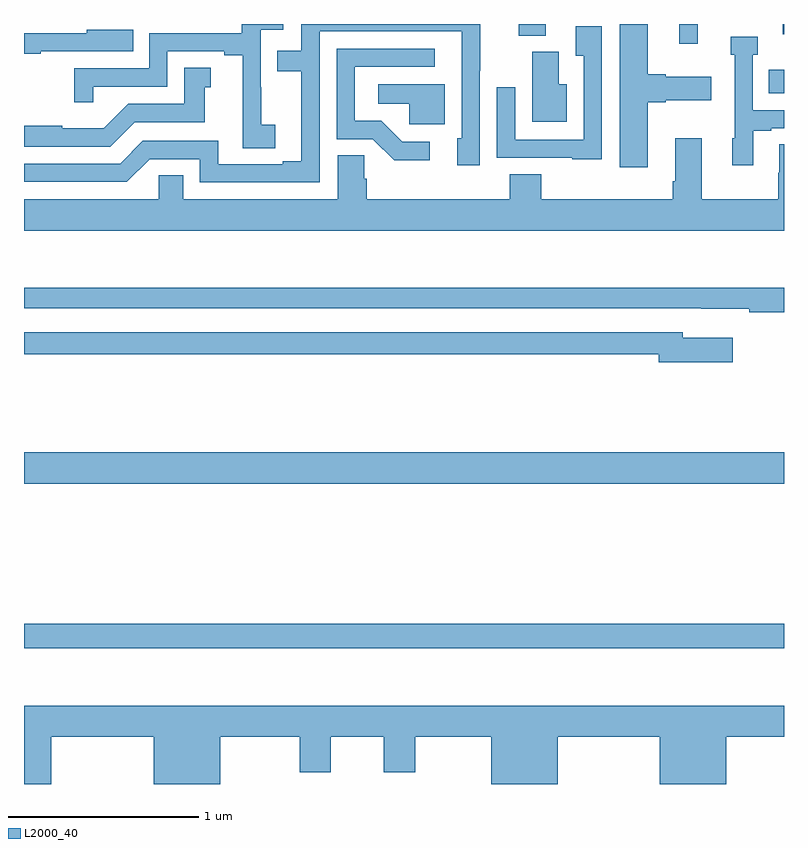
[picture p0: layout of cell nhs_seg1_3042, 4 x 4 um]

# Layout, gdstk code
import gdstk
lib = gdstk.Library(unit=1e-6, precision=1e-09)
def R(c, l, rs):  # rectangles x0, y0, x1, y1
    for r in rs: c.add(gdstk.rectangle(r[:2], r[2:], *l))
def P(c, l, *ps):  # polygons
    for p in ps: c.add(gdstk.Polygon(p, *l))
L2000_40 = (2000, 40)

nhs_seg1_3042 = lib.new_cell('nhs_seg1_3042')
R(nhs_seg1_3042, L2000_40, [(277,502.914,281,503.042), (277,503.78,281,503.944), (280.921,505.835,281,505.957), (280.448,506.094,280.545,506.199), (279.605,506.137,279.745,506.199), (280.994,506.144,281,506.199)])
P(nhs_seg1_3042, L2000_40, [(278.323,505.668),(278.249,505.668),(278.249,505.865),(278.247,505.865),(278.247,506.169),(278.365,506.169),(278.365,506.199),(278.146,506.199),(278.146,506.151),(277.659,506.151),(277.659,505.965),(277.264,505.965),(277.264,505.788),(277.365,505.788),(277.365,505.869),(277.755,505.869),(277.755,506.055),(278.054,506.055),(278.054,506.035),(278.15,506.035),(278.15,505.657),(278.152,505.657),(278.152,505.546),(278.323,505.546)],
  [(280.282,505.787),(280.378,505.787),(280.378,505.799),(280.618,505.799),(280.618,505.921),(280.378,505.921),(280.378,505.934),(280.282,505.934),(280.282,506.199),(280.136,506.199),(280.136,505.446),(280.282,505.446)],
  [(278.556,506.16),(279.303,506.16),(279.303,505.599),(279.281,505.599),(279.281,505.455),(279.399,505.455),(279.399,505.954),(279.401,505.954),(279.401,506.199),(278.46,506.199),(278.46,506.058),(278.332,506.058),(278.332,505.95),(278.459,505.95),(278.459,505.476),(278.363,505.476),(278.363,505.461),(278.022,505.461),(278.022,505.584),(277.626,505.584),(277.506,505.464),(277,505.464),(277,505.368),(277.542,505.368),(277.662,505.488),(277.926,505.488),(277.926,505.365),(278.556,505.365)],
  [(280.041,506.188),(279.905,506.188),(279.905,506.032),(279.945,506.032),(279.945,505.59),(279.585,505.59),(279.585,505.867),(279.489,505.867),(279.489,505.494),(279.885,505.494),(279.885,505.487),(280.041,505.487)],
  [(277.087,506.055),(277.574,506.055),(277.574,506.17),(277.331,506.17),(277.331,506.151),(277,506.151),(277,506.043),(277.087,506.043)],
  [(280.837,505.638),(280.933,505.638),(280.933,505.65),(281,505.65),(281,505.746),(280.836,505.746),(280.836,506.037),(280.861,506.037),(280.861,506.131),(280.721,506.131),(280.721,506.037),(280.74,506.037),(280.74,505.599),(280.727,505.599),(280.727,505.455),(280.837,505.455)],
  [(279.136,505.578),(278.991,505.578),(278.88,505.689),(278.742,505.689),(278.742,505.974),(279.163,505.974),(279.163,506.07),(278.646,506.07),(278.646,505.593),(278.835,505.593),(278.948,505.481),(279.136,505.481)],
  [(279.856,505.882),(279.814,505.882),(279.814,506.052),(279.674,506.052),(279.674,505.685),(279.856,505.685)],
  [(277.584,505.683),(277.951,505.683),(277.951,505.867),(277.984,505.867),(277.984,505.97),(277.844,505.97),(277.844,505.779),(277.548,505.779),(277.42,505.651),(277.202,505.651),(277.202,505.663),(277,505.663),(277,505.554),(277.455,505.554)],
  [(279.214,505.882),(278.865,505.882),(278.865,505.778),(279.027,505.778),(279.027,505.671),(279.214,505.671)],
  [(281,505.565),(280.976,505.565),(280.976,505.415),(280.969,505.415),(280.969,505.276),(280.567,505.276),(280.567,505.597),(280.427,505.597),(280.427,505.372),(280.415,505.372),(280.415,505.276),(279.722,505.276),(279.722,505.409),(279.557,505.409),(279.557,505.276),(278.804,505.276),(278.804,505.385),(278.79,505.385),(278.79,505.508),(278.651,505.508),(278.651,505.276),(277.837,505.276),(277.837,505.403),(277.71,505.403),(277.71,505.276),(277,505.276),(277,505.112),(281,505.112)],
  [(281,504.811),(277,504.811),(277,504.702),(280.564,504.702),(280.564,504.701),(280.816,504.701),(280.816,504.682),(281,504.682)],
  [(280.729,504.547),(280.468,504.547),(280.468,504.576),(277,504.576),(277,504.46),(280.34,504.46),(280.34,504.418),(280.729,504.418)],
  [(277.144,502.448),(277.682,502.448),(277.682,502.199),(278.032,502.199),(278.032,502.448),(278.45,502.448),(278.45,502.26),(278.614,502.26),(278.614,502.448),(278.894,502.448),(278.894,502.26),(279.058,502.26),(279.058,502.448),(279.458,502.448),(279.458,502.199),(279.808,502.199),(279.808,502.448),(280.346,502.448),(280.346,502.199),(280.696,502.199),(280.696,502.448),(281,502.448),(281,502.612),(277,502.612),(277,502.199),(277.144,502.199)])

lib.write_gds('nhs_seg1_3042.gds')
